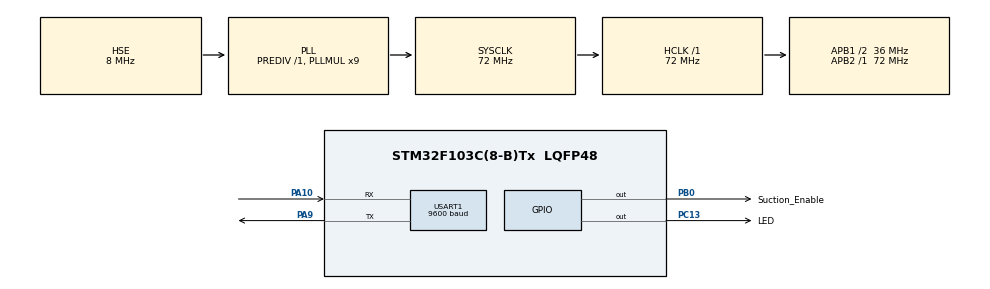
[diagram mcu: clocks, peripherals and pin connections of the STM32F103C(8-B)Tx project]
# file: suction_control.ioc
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IWDG.Prescaler=IWDG_PRESCALER_16
IWDG.Reload=2500-1
Mcu.Family=STM32F1
Mcu.Name=STM32F103C(8-B)Tx
Mcu.Package=LQFP48
NVIC.PriorityGroup=NVIC_PRIORITYGROUP_4
NVIC.TIM2_IRQn=true\:0\:0\:false\:false\:true\:true\:true\:true
NVIC.USART1_IRQn=true\:0\:0\:false\:false\:true\:true\:true\:true
PA10.Mode=Asynchronous
PA10.Signal=USART1_RX
PA13.Mode=Serial_Wire
PA13.Signal=SYS_JTMS-SWDIO
PA14.Mode=Serial_Wire
PA14.Signal=SYS_JTCK-SWCLK
PA9.Mode=Asynchronous
PA9.Signal=USART1_TX
PB0.GPIO_Label=Suction_Enable
PB0.Signal=GPIO_Output
PC13-TAMPER-RTC.GPIO_Label=LED
PC13-TAMPER-RTC.Signal=GPIO_Output
PD0-OSC_IN.Mode=HSE-External-Oscillator
PD0-OSC_IN.Signal=RCC_OSC_IN
PD1-OSC_OUT.Mode=HSE-External-Oscillator
PD1-OSC_OUT.Signal=RCC_OSC_OUT
ProjectManager.HeapSize=0x200
ProjectManager.StackSize=0x400
ProjectManager.TargetToolchain=STM32CubeIDE
RCC.AHBFreq_Value=72000000
RCC.APB1CLKDivider=RCC_HCLK_DIV2
RCC.APB1Freq_Value=36000000
RCC.APB1TimFreq_Value=72000000
RCC.APB2Freq_Value=72000000
RCC.APB2TimFreq_Value=72000000
RCC.HCLKFreq_Value=72000000
RCC.PLLMUL=RCC_PLL_MUL9
RCC.PLLSourceVirtual=RCC_PLLSOURCE_HSE
RCC.SYSCLKFreq_VALUE=72000000
RCC.SYSCLKSource=RCC_SYSCLKSOURCE_PLLCLK
RCC.USBFreq_Value=72000000
TIM2.Period=200-1
TIM2.Prescaler=7200-1
USART1.BaudRate=9600
USART1.VirtualMode=VM_ASYNC
VP_IWDG_VS_IWDG.Mode=IWDG_Activate
VP_TIM2_VS_ClockSourceINT.Mode=Internal
board=custom

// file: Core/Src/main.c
/* USER CODE BEGIN Header */
/**
  ******************************************************************************
  * @file           : main.c
  * @brief          : Main program body
  ******************************************************************************
  * @attention
  *
  * Copyright (c) 2023 STMicroelectronics.
  * All rights reserved.
  *
  * This software is licensed under terms that can be found in the LICENSE file
  * in the root directory of this software component.
  * If no LICENSE file comes with this software, it is provided AS-IS.
  *
  ******************************************************************************
  */
/* USER CODE END Header */
#include "main.h"
#include "iwdg.h"
#include "tim.h"
#include "usart.h"
#include "gpio.h"

/* USER CODE BEGIN PV */

uint8_t enable_status = 0;
uint8_t uart_receive = 0;

/* USER CODE END PV */

void SystemClock_Config(void);

int main(void)
{

  /* MCU Configuration--------------------------------------------------------*/

  /* Reset of all peripherals, Initializes the Flash interface and the Systick. */
  HAL_Init();

  /* Configure the system clock */
  SystemClock_Config();

  /* Initialize all configured peripherals */
  MX_GPIO_Init();
  MX_USART1_UART_Init();
  MX_TIM2_Init();
  MX_IWDG_Init();
  /* USER CODE BEGIN 2 */

  HAL_UART_Receive_IT(&huart1, &uart_receive, 1);

  /* USER CODE END 2 */

  /* Infinite loop */
  while (1)
  {

    /* USER CODE BEGIN 3 */
	  HAL_Delay(800);
	  HAL_IWDG_Refresh(&hiwdg);

  }
  /* USER CODE END 3 */
}

void SystemClock_Config(void)
{
  RCC_OscInitTypeDef RCC_OscInitStruct = {0};
  RCC_ClkInitTypeDef RCC_ClkInitStruct = {0};

  /** Initializes the RCC Oscillators according to the specified parameters
  * in the RCC_OscInitTypeDef structure.
  */
  RCC_OscInitStruct.OscillatorType = RCC_OSCILLATORTYPE_LSI|RCC_OSCILLATORTYPE_HSE;
  RCC_OscInitStruct.HSEState = RCC_HSE_ON;
  RCC_OscInitStruct.HSEPredivValue = RCC_HSE_PREDIV_DIV1;
  RCC_OscInitStruct.HSIState = RCC_HSI_ON;
  RCC_OscInitStruct.LSIState = RCC_LSI_ON;
  RCC_OscInitStruct.PLL.PLLState = RCC_PLL_ON;
  RCC_OscInitStruct.PLL.PLLSource = RCC_PLLSOURCE_HSE;
  RCC_OscInitStruct.PLL.PLLMUL = RCC_PLL_MUL9;
  if (HAL_RCC_OscConfig(&RCC_OscInitStruct) != HAL_OK)
  {
    Error_Handler();
  }

  /** Initializes the CPU, AHB and APB buses clocks
  */
  RCC_ClkInitStruct.ClockType = RCC_CLOCKTYPE_HCLK|RCC_CLOCKTYPE_SYSCLK
                              |RCC_CLOCKTYPE_PCLK1|RCC_CLOCKTYPE_PCLK2;
  RCC_ClkInitStruct.SYSCLKSource = RCC_SYSCLKSOURCE_PLLCLK;
  RCC_ClkInitStruct.AHBCLKDivider = RCC_SYSCLK_DIV1;
  RCC_ClkInitStruct.APB1CLKDivider = RCC_HCLK_DIV2;
  RCC_ClkInitStruct.APB2CLKDivider = RCC_HCLK_DIV1;

  if (HAL_RCC_ClockConfig(&RCC_ClkInitStruct, FLASH_LATENCY_2) != HAL_OK)
  {
    Error_Handler();
  }
}

/* USER CODE BEGIN 4 */

void HAL_TIM_PeriodElapsedCallback(TIM_HandleTypeDef *htim)
{
	if (htim == (&htim2))
	{
		// not used
	}
}

void HAL_UART_RxCpltCallback(UART_HandleTypeDef *huart)
{
	HAL_GPIO_TogglePin(LED_GPIO_Port, LED_Pin);

	switch(uart_receive) {
		case 0:
			HAL_GPIO_WritePin(Suction_Enable_GPIO_Port, Suction_Enable_Pin, GPIO_PIN_RESET);
			enable_status = HAL_GPIO_ReadPin(Suction_Enable_GPIO_Port, Suction_Enable_Pin);
			HAL_UART_Transmit(&huart1, (uint8_t*) &enable_status, sizeof(enable_status), 100);
			break;
		case 1:
			HAL_GPIO_WritePin(Suction_Enable_GPIO_Port, Suction_Enable_Pin, GPIO_PIN_SET);
			enable_status = HAL_GPIO_ReadPin(Suction_Enable_GPIO_Port, Suction_Enable_Pin);
			HAL_UART_Transmit(&huart1, (uint8_t*) &enable_status, sizeof(enable_status), 100);
			break;
	}

	HAL_UART_Receive_IT(&huart1, &uart_receive, 1);
}

/* USER CODE END 4 */

void Error_Handler(void)
{
  __disable_irq();
  while (1)
  {
  }
}
